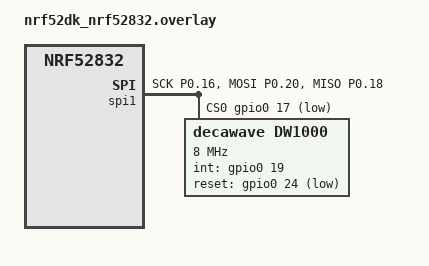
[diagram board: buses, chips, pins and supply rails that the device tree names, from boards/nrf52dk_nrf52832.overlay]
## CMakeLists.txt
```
cmake_minimum_required(VERSION 3.20.0)

# *** NOTE — Why we do NOT use add_subdirectory() here ***
#
# See samples/dw1000_config/CMakeLists.txt for the full rationale: samples
# live outside the NCS module tree, so zephyr_library() inside
# drivers/dw1000/CMakeLists.txt would be compiled but never linked if pulled
# in via add_subdirectory(). Instead, compile the driver sources directly
# into the 'app' target, same as every other sample in this repo.

find_package(Zephyr REQUIRED HINTS $ENV{ZEPHYR_BASE})
project(twr_responder_sample VERSION 0.1.0)

set(DW1000_DIR ${CMAKE_CURRENT_SOURCE_DIR}/../../drivers/dw1000)

target_sources(app PRIVATE
    src/main.c
    ${DW1000_DIR}/deca_driver/deca_device.c
    ${DW1000_DIR}/deca_driver/deca_params_init.c
    ${DW1000_DIR}/port/deca_port.c   # strong SPI/GPIO port defs (no stub needed)
    ${DW1000_DIR}/dw1000_config.c
    ${DW1000_DIR}/dw1000_ranging.c
    ${DW1000_DIR}/uwb_twr_codec.c
    ${DW1000_DIR}/twr_responder.c
)

target_include_directories(app PRIVATE
    ${DW1000_DIR}/deca_driver   # deca_device_api.h, deca_regs.h
    ${DW1000_DIR}/port          # deca_port.h
    ${DW1000_DIR}               # dw1000_config.h, phy_config.h, dw1000_ranging.h,
                                 # uwb_twr_codec.h, uwb_frames.h, twr_responder.h
)

# deca_port.c includes <zephyr/drivers/spi.h> which pulls in offsets.h
# (generated at build time). Same dependency as in drivers/dw1000/CMakeLists.
add_dependencies(app offsets_h)
```

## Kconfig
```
# samples/twr_responder/Kconfig
#
# Kconfig root for the twr_responder sample.
#
# Zephyr's build system uses APPLICATION_SOURCE_DIR/Kconfig as the Kconfig root
# when it exists. Because samples live outside the repo root, they need their
# own Kconfig to source the DW1000 driver config at the correct relative path.

source "$(ZEPHYR_BASE)/Kconfig"
source "$(APPLICATION_SOURCE_DIR)/../../drivers/dw1000/Kconfig"

config TWR_RESPONDER_SAMPLE_SELF_ADDR
	hex "This device's 16-bit short address for the DS-TWR responder sample"
	default 0x0002
	range 0x0000 0xFFFD
	help
	  Placeholder short address the sample passes to
	  twr_responder_run_once() as 'self_addr' -- the responder only answers
	  a POLL whose destination address matches this value.

	  Real slot/address assignment is the Aloha join/registration flow
	  (UWB-9/10/11, out of scope for this sample and for UWB-232). Until
	  that exists, bring-up testing hand-configures this value to match
	  whatever address the DS-TWR initiator (anchor, or a throwaway
	  initiator sketch on a second board) is told to POLL.

	  Must not be UWB_ADDR_BROADCAST (0xFFFF) or UWB_ADDR_UNASSIGNED
	  (0xFFFE, drivers/dw1000/uwb_frames.h) -- both are reserved.
```

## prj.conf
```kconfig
# samples/twr_responder/prj.conf
# DS-TWR responder mode sample — project configuration

# ---------------------------------------------------------------------------
# DW1000 UWB transceiver driver
# ---------------------------------------------------------------------------
CONFIG_DW1000=y
CONFIG_SPI=y
CONFIG_GPIO=y

# Enable the optional local range estimate + log line for bring-up (see
# drivers/dw1000/Kconfig CONFIG_UWB_TWR_RESPONDER_DEBUG_RANGE help text).
# Debug-only; never reported off-device (ADR-011).
CONFIG_UWB_TWR_RESPONDER_DEBUG_RANGE=y

# ---------------------------------------------------------------------------
# Logging
# ---------------------------------------------------------------------------
CONFIG_LOG=y
CONFIG_LOG_DEFAULT_LEVEL=3
CONFIG_LOG_BACKEND_RTT=y
CONFIG_USE_SEGGER_RTT=y
CONFIG_LOG_BACKEND_UART=y
CONFIG_BOOT_BANNER=y

# ---------------------------------------------------------------------------
# Console
# ---------------------------------------------------------------------------
CONFIG_SERIAL=y
CONFIG_UART_CONSOLE=y

CONFIG_SYSTEM_WORKQUEUE_STACK_SIZE=2048
```

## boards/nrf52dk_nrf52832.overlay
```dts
/*
 * DWM1001 module overlay for the twr_responder sample.
 *
 * Identical to samples/dw1000_config/boards/nrf52dk_nrf52832.overlay and
 * samples/dw1000_devid/boards/nrf52dk_nrf52832.overlay. Duplicated because
 * each Zephyr application sources its own board overlay.
 */

#include <zephyr/dt-bindings/gpio/gpio.h>

&pinctrl {
	spi1_default: spi1_default {
		group1 {
			psels = <NRF_PSEL(SPIM_SCK,  0, 16)>,
				<NRF_PSEL(SPIM_MOSI, 0, 20)>,
				<NRF_PSEL(SPIM_MISO, 0, 18)>;
		};
	};

	spi1_sleep: spi1_sleep {
		group1 {
			psels = <NRF_PSEL(SPIM_SCK,  0, 16)>,
				<NRF_PSEL(SPIM_MOSI, 0, 20)>,
				<NRF_PSEL(SPIM_MISO, 0, 18)>;
			low-power-enable;
		};
	};
};

&spi1 {
	compatible = "nordic,nrf-spi";
	status = "okay";
	pinctrl-0 = <&spi1_default>;
	pinctrl-1 = <&spi1_sleep>;
	pinctrl-names = "default", "sleep";
	cs-gpios = <&gpio0 17 GPIO_ACTIVE_LOW>;

	dw1000: dw1000@0 {
		compatible = "decawave,dw1000";
		reg = <0>;
		spi-max-frequency = <8000000>;
		int-gpios   = <&gpio0 19 GPIO_ACTIVE_HIGH>;
		reset-gpios = <&gpio0 24 GPIO_ACTIVE_LOW>;
	};
};
```

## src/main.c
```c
/*! ----------------------------------------------------------------------------
 * @file    main.c
 * @brief   DS-TWR responder mode sample (UWB-232)
 *
 * Runs dw1000_port_init() -> dw1000_configure() -> repeatedly calls
 * twr_responder_run_once() with this device's placeholder short address
 * (CONFIG_TWR_RESPONDER_SAMPLE_SELF_ADDR — real slot/address assignment is
 * the Aloha join/registration flow, UWB-9/10/11, out of scope here), logging
 * the outcome of each attempt.
 *
 * NOTE: This sample requires an on-target run with a real DWM1001 module
 *       exchanging DS-TWR frames with a second board (anchor DS-TWR
 *       initiator, or a throwaway initiator sketch) — see the "On-hardware
 *       bring-up" section in drivers/dw1000/twr_responder.h and this
 *       directory's README.md. For headless CI verification see
 *       tests/twr_responder/ (ztest).
 *
 * Build:   west build -b nrf52dk_nrf52832 samples/twr_responder
 * Flash:   west flash
 *
 * @attention
 * SPDX-License-Identifier: MIT
 * Copyright (c) 2024 Fundamentals UWB project contributors.
 */

#include <zephyr/kernel.h>
#include <zephyr/logging/log.h>

#include "deca_port.h"
#include "dw1000_config.h"
#include "twr_responder.h"

LOG_MODULE_REGISTER(twr_responder_sample, LOG_LEVEL_DBG);

static const char *status_str(twr_responder_status_t status)
{
    switch (status) {
    case TWR_RESPONDER_EXCHANGE_OK:
        return "EXCHANGE_OK";
    case TWR_RESPONDER_NO_POLL:
        return "NO_POLL";
    case TWR_RESPONDER_FOREIGN_FRAME:
        return "FOREIGN_FRAME";
    case TWR_RESPONDER_TX_ERROR:
        return "TX_ERROR";
    case TWR_RESPONDER_NO_FINAL:
        return "NO_FINAL";
    case TWR_RESPONDER_FINAL_MISMATCH:
        return "FINAL_MISMATCH";
    default:
        return "UNKNOWN";
    }
}

int main(void)
{
    int ret;
    const uint16_t self_addr = (uint16_t)CONFIG_TWR_RESPONDER_SAMPLE_SELF_ADDR;

    LOG_INF("DS-TWR responder sample starting -- self_addr = 0x%04X", self_addr);

    ret = dw1000_port_init();
    if (ret < 0) {
        LOG_ERR("dw1000_port_init failed: %d", ret);
        return ret;
    }

    ret = dw1000_configure();
    if (ret < 0) {
        LOG_ERR("dw1000_configure failed: %d -- check SPI wiring", ret);
        return ret;
    }

    LOG_INF("dw1000_configure() OK -- entering DS-TWR responder loop");

    while (1) {
        uwb_twr_exchange_t exchange;
        twr_responder_status_t status = twr_responder_run_once(self_addr, &exchange);

        if (status == TWR_RESPONDER_EXCHANGE_OK) {
            LOG_INF("Exchange 0x%04X with initiator 0x%04X complete: "
                    "T1=%llu T2=%llu T3=%llu T4=%llu T5=%llu T6=%llu",
                    exchange.exchange_id, exchange.initiator_addr,
                    (unsigned long long)exchange.poll_tx_ts,
                    (unsigned long long)exchange.poll_rx_ts,
                    (unsigned long long)exchange.resp_tx_ts,
                    (unsigned long long)exchange.resp_rx_ts,
                    (unsigned long long)exchange.final_tx_ts,
                    (unsigned long long)exchange.final_rx_ts);
            /* exchange.range_mm is only populated when
             * CONFIG_UWB_TWR_RESPONDER_DEBUG_RANGE=y (this sample's default,
             * see prj.conf); twr_responder_run_once() itself already
             * LOG_INF()s it in that case. */
        } else {
            LOG_DBG("twr_responder_run_once(): %s", status_str(status));
        }
    }

    /* Unreachable; main() returning is treated as an error in Zephyr. */
    return 0;
}
```
